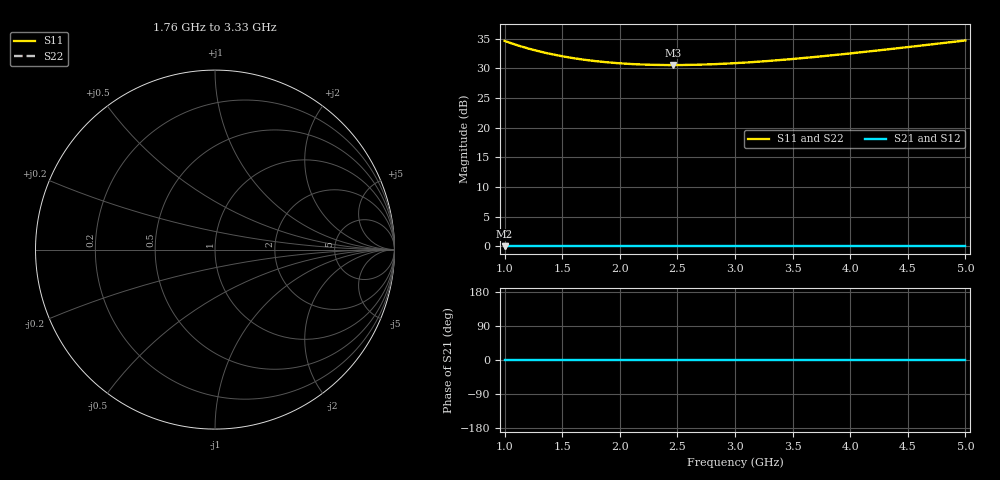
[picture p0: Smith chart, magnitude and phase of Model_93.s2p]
# GHZ S RI R 50
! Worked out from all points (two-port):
!   401 points, 1 GHz to 5 GHz, reference 50 ohm
!   highest |S21| = 0.00 dB at 1 GHz (marker M1); lowest = 0.0 dB at 1 GHz (marker M2)
!   |S21| within 3 dB of the highest: start of sweep to end of sweep
!   lowest |S11| = 30.6 dB at 2.46 GHz (marker M3)
!   |S11| at or under -10 dB: nowhere
!   |S22| runs from 30.6 to 34.7 dB; largest |S21 - S12| = 0
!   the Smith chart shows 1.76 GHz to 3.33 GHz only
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1  53.97 0  1 0  1 0  53.97 0
1.02  53.09 0  1 0  1 0  53.09 0
1.15  48.25 0  1 0  1 0  48.25 0
1.22  46.13 0  1 0  1 0  46.13 0
1.3  44.05 0  1 0  1 0  44.05 0
1.38  42.26 0  1 0  1 0  42.26 0
1.47  40.56 0  1 0  1 0  40.56 0
1.57  38.97 0  1 0  1 0  38.97 0
1.67  37.67 0  1 0  1 0  37.67 0
1.82  36.16 0  1 0  1 0  36.16 0
1.98  35.02 0  1 0  1 0  35.02 0
2.15  34.24 0  1 0  1 0  34.24 0
2.34  33.81 0  1 0  1 0  33.81 0
2.46  33.74 0  1 0  1 0  33.74 0
2.72  34.06 0  1 0  1 0  34.06 0
3  35 0  1 0  1 0  35 0
3.33  36.79 0  1 0  1 0  36.79 0
3.67  39.3 0  1 0  1 0  39.3 0
4  42.3 0  1 0  1 0  42.3 0
4.34  45.94 0  1 0  1 0  45.94 0
4.64  49.57 0  1 0  1 0  49.57 0
5  54.43 0  1 0  1 0  54.43 0
